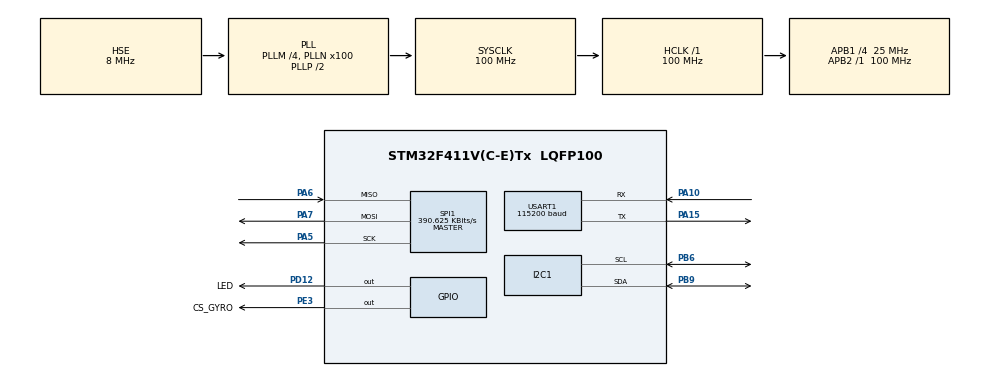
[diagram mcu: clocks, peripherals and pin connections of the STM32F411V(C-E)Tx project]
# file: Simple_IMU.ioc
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I2C1.I2C_Mode=I2C_Fast
Mcu.Family=STM32F4
Mcu.Name=STM32F411V(C-E)Tx
Mcu.Package=LQFP100
NVIC.PriorityGroup=NVIC_PRIORITYGROUP_4
NVIC.TIM1_UP_TIM10_IRQn=true\:0\:0\:false\:false\:true
NVIC.USART1_IRQn=true\:0\:0\:false\:false\:true
PA10.Mode=Asynchronous
PA10.Signal=USART1_RX
PA15.Mode=Asynchronous
PA15.Signal=USART1_TX
PA5.Mode=Full_Duplex_Master
PA5.Signal=SPI1_SCK
PA6.Mode=Full_Duplex_Master
PA6.Signal=SPI1_MISO
PA7.Mode=Full_Duplex_Master
PA7.Signal=SPI1_MOSI
PB6.Mode=I2C
PB6.Signal=I2C1_SCL
PB9.Mode=I2C
PB9.Signal=I2C1_SDA
PD12.GPIO_Label=LED
PD12.Signal=GPIO_Output
PE3.GPIO_Label=CS_GYRO
PE3.Signal=GPIO_Output
PH0\ -\ OSC_IN.Mode=HSE-External-Oscillator
PH0\ -\ OSC_IN.Signal=RCC_OSC_IN
PH1\ -\ OSC_OUT.Mode=HSE-External-Oscillator
PH1\ -\ OSC_OUT.Signal=RCC_OSC_OUT
ProjectManager.HeapSize=0x200
ProjectManager.StackSize=0x400
ProjectManager.TargetToolchain=SW4STM32
RCC.48MHZClocksFreq_Value=50000000
RCC.AHBFreq_Value=100000000
RCC.APB1CLKDivider=RCC_HCLK_DIV4
RCC.APB1Freq_Value=25000000
RCC.APB1TimFreq_Value=50000000
RCC.APB2Freq_Value=100000000
RCC.APB2TimFreq_Value=100000000
RCC.CortexFreq_Value=100000000
RCC.HCLKFreq_Value=100000000
RCC.HSE_VALUE=8000000
RCC.HSI_VALUE=16000000
RCC.LSE_VALUE=32768
RCC.PLLM=4
RCC.PLLN=100
RCC.PLLSourceVirtual=RCC_PLLSOURCE_HSE
RCC.SYSCLKFreq_VALUE=100000000
RCC.SYSCLKSource=RCC_SYSCLKSOURCE_PLLCLK
RCC.VCOOutputFreq_Value=200000000
SPI1.BaudRatePrescaler=SPI_BAUDRATEPRESCALER_256
SPI1.CalculateBaudRate=390.625 KBits/s
SPI1.Direction=SPI_DIRECTION_2LINES
SPI1.Mode=SPI_MODE_MASTER
SPI1.VirtualType=VM_MASTER
TIM10.Period=4999
TIM10.Prescaler=9999
USART1.BaudRate=115200
USART1.Mode=MODE_TX
USART1.VirtualMode=VM_ASYNC
VP_TIM10_VS_ClockSourceINT.Mode=Enable_Timer
board=Simple_IMU

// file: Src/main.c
/**
  ******************************************************************************
  * File Name          : main.c
  * Description        : Main program body
  ******************************************************************************
  *
  * COPYRIGHT(c) 2017 STMicroelectronics
  *
  * Redistribution and use in source and binary forms, with or without modification,
  * are permitted provided that the following conditions are met:
  *   1. Redistributions of source code must retain the above copyright notice,
  *      this list of conditions and the following disclaimer.
  *   2. Redistributions in binary form must reproduce the above copyright notice,
  *      this list of conditions and the following disclaimer in the documentation
  *      and/or other materials provided with the distribution.
  *   3. Neither the name of STMicroelectronics nor the names of its contributors
  *      may be used to endorse or promote products derived from this software
  *      without specific prior written permission.
  *
  * THIS SOFTWARE IS PROVIDED BY THE COPYRIGHT HOLDERS AND CONTRIBUTORS "AS IS"
  * AND ANY EXPRESS OR IMPLIED WARRANTIES, INCLUDING, BUT NOT LIMITED TO, THE
  * IMPLIED WARRANTIES OF MERCHANTABILITY AND FITNESS FOR A PARTICULAR PURPOSE ARE
  * DISCLAIMED. IN NO EVENT SHALL THE COPYRIGHT HOLDER OR CONTRIBUTORS BE LIABLE
  * FOR ANY DIRECT, INDIRECT, INCIDENTAL, SPECIAL, EXEMPLARY, OR CONSEQUENTIAL
  * DAMAGES (INCLUDING, BUT NOT LIMITED TO, PROCUREMENT OF SUBSTITUTE GOODS OR
  * SERVICES; LOSS OF USE, DATA, OR PROFITS; OR BUSINESS INTERRUPTION) HOWEVER
  * CAUSED AND ON ANY THEORY OF LIABILITY, WHETHER IN CONTRACT, STRICT LIABILITY,
  * OR TORT (INCLUDING NEGLIGENCE OR OTHERWISE) ARISING IN ANY WAY OUT OF THE USE
  * OF THIS SOFTWARE, EVEN IF ADVISED OF THE POSSIBILITY OF SUCH DAMAGE.
  *
  ******************************************************************************
  */
#include "main.h"
#include "stm32f4xx_hal.h"

/* USER CODE BEGIN Includes */
#include <math.h>
/* USER CODE END Includes */

I2C_HandleTypeDef hi2c1;

SPI_HandleTypeDef hspi1;

TIM_HandleTypeDef htim10;

UART_HandleTypeDef huart1;

/* USER CODE BEGIN PV */
/* Private variables ---------------------------------------------------------*/
// ACCELEROMTER and MAGNETOMETER
#define LSM303_ACC_ADDRESS (0x19 << 1)
#define LSM303_ACC_CTRL_REG1_A 0x20
#define LSM303_ACC_CTRL_REG2_A 0x21
#define LSM303_ACC_CTRL_REG3_A 0x22
#define LSM303_ACC_CTRL_REG4_A 0x23
#define LSM303_ACC_CTRL_REG5_A 0x24
#define LSM303_ACC_CTRL_REG6_A 0x25
#define LSM303_ACC_SCALE 8.0
#define LSM303_MAG_ADDRESS (0x1E << 1)
#define LSM303_MAG_CRA_REG_M 0x00
#define LSM303_MAG_CRB_REG_M 0x01
#define LSM303_MAG_MR_REG_M 0x02

float Accel_g_x;
float Accel_g_y;
float Accel_g_z;

float Mag_Gauss_x;
float Mag_Gauss_y;
float Mag_Gauss_z;
//GYROSCOPE
#define L3GD20_REGISTER_CTRL_REG1 0x20   // 00000111   rw
#define L3GD20_REGISTER_CTRL_REG2 0x21   // 00000000   rw
#define L3GD20_REGISTER_CTRL_REG3 0x22   // 00000000   rw
#define L3GD20_REGISTER_CTRL_REG4 0x23   // 00000000   rw
#define L3GD20_REGISTER_CTRL_REG5 0x24   // 00000000   rw
#define L3GD20_GYRO_SENSITIVITY 0.00875
#define CS_GYRO_LOW HAL_GPIO_WritePin(CS_GYRO_GPIO_Port, CS_GYRO_Pin, 0)
#define CS_GYRO_HIGH HAL_GPIO_WritePin(CS_GYRO_GPIO_Port, CS_GYRO_Pin, 1)

#define RAD_TO_DEG 180/M_PI

//float Angle_x; //degrees
//float Angle_y; //degrees
//float Angle_z; //degrees

float pitch, roll, pitch_acc, roll_acc, yaw;
int16_t pitch_, roll_;
/* USER CODE END PV */

void SystemClock_Config(void);
void Error_Handler(void);
static void MX_GPIO_Init(void);
static void MX_I2C1_Init(void);
static void MX_SPI1_Init(void);
static void MX_USART1_UART_Init(void);
static void MX_TIM10_Init(void);

/* USER CODE BEGIN PFP */
/* Private function prototypes -----------------------------------------------*/
uint8_t readGyro(uint8_t address);
void sendSettings(uint8_t address, uint8_t settings);
void HAL_TIM_PeriodElapsedCallback(TIM_HandleTypeDef *htim) {
	if (htim->Instance == TIM10) {
		uint8_t size, Tx[100] = {0};
		size = sprintf((char*)Tx, "%d#%d$%d@", (int16_t)pitch, (int16_t)roll, (int16_t)yaw);
		HAL_UART_Transmit_IT(&huart1, Tx, size);
	}
}
/* USER CODE END PFP */

int main(void)
{

  /* USER CODE BEGIN 1 */
	uint8_t Data[6];
	int16_t Accel_raw_x;
	int16_t Accel_raw_y;
	int16_t Accel_raw_z;
	int16_t Mag_raw_x;
	int16_t Mag_raw_y;
	int16_t Mag_raw_z;
	int16_t Angular_velocity_x;
	int16_t Angular_velocity_y;
	int16_t Angular_velocity_z;
	uint8_t settings;
//	float dt = 0.0023; //not very good, need beter idea
	float dt = 0.01; //time base to integrate
//	uint8_t Tx[50];
//	uint8_t size;
  /* USER CODE END 1 */

  /* MCU Configuration----------------------------------------------------------*/

  /* Reset of all peripherals, Initializes the Flash interface and the Systick. */
  HAL_Init();

  /* Configure the system clock */
  SystemClock_Config();

  /* Initialize all configured peripherals */
  MX_GPIO_Init();
  MX_I2C1_Init();
  MX_SPI1_Init();
  MX_USART1_UART_Init();
  MX_TIM10_Init();

  /* USER CODE BEGIN 2 */
//ACCELEROMETER CONFIGURATION
	settings = 0b01010111; //100Hz, XYZ axis enable
	HAL_I2C_Mem_Write(&hi2c1, LSM303_ACC_ADDRESS, LSM303_ACC_CTRL_REG1_A, 1,
			&settings, 1, 50);

	settings = 0b10000000; /*data from internal filter sent to output register and
	FIFO, there is no gravitation vector, dunno why*/
	HAL_I2C_Mem_Write(&hi2c1, LSM303_ACC_ADDRESS, LSM303_ACC_CTRL_REG2_A, 1,
			&settings, 1, 50);

	settings = 0b00000000; //everything disable
	HAL_I2C_Mem_Write(&hi2c1, LSM303_ACC_ADDRESS, LSM303_ACC_CTRL_REG3_A, 1,
			&settings, 1, 50);

	settings = 0b00100000; //+/- 4G selection
	HAL_I2C_Mem_Write(&hi2c1, LSM303_ACC_ADDRESS, LSM303_ACC_CTRL_REG4_A, 1,
			&settings, 1, 50);

	settings = 0b00000000; //nothing
	HAL_I2C_Mem_Write(&hi2c1, LSM303_ACC_ADDRESS, LSM303_ACC_CTRL_REG5_A, 1,
			&settings, 1, 50);

	settings = 0b00000000; //nothing
	HAL_I2C_Mem_Write(&hi2c1, LSM303_ACC_ADDRESS, LSM303_ACC_CTRL_REG6_A, 1,
			&settings, 1, 50);
/////////////////////////////////////////////////////////////////////////////////////////
//MAGNETOMETER CONFIGURATION
	settings = 0b00011000; //output rate 75Hz
	HAL_I2C_Mem_Write(&hi2c1, LSM303_MAG_ADDRESS, LSM303_MAG_CRA_REG_M, 1,
			&settings, 1, 50);

	settings = 0b00100000; //field range +/- 1.3 Gauss
	HAL_I2C_Mem_Write(&hi2c1, LSM303_MAG_ADDRESS, LSM303_MAG_CRB_REG_M, 1,
			&settings, 1, 50);

	settings = 0b00000000; //continuous-conversion mode
	HAL_I2C_Mem_Write(&hi2c1, LSM303_MAG_ADDRESS, LSM303_MAG_MR_REG_M, 1,
			&settings, 1, 50);
/////////////////////////////////////////////////////////////////////////////////////////
//GYROSCOPE CONFIGURATION
	sendSettings(L3GD20_REGISTER_CTRL_REG1, 0b11001111); //output data rate, XYZ axis enable
	sendSettings(L3GD20_REGISTER_CTRL_REG2, 0b00000000); //high pass filter normal mode and cutoff freq
	sendSettings(L3GD20_REGISTER_CTRL_REG3, 0b00000000); //nothing
	sendSettings(L3GD20_REGISTER_CTRL_REG4, 0b00000000); //continous update, 250 dps
	sendSettings(L3GD20_REGISTER_CTRL_REG5, 0b00010000); //high pass filter enable

	HAL_TIM_Base_Start_IT(&htim10);
  /* USER CODE END 2 */

  /* Infinite loop */
  /* USER CODE BEGIN WHILE */
	while (1) {
		//Accelerometer
		HAL_I2C_Mem_Read(&hi2c1, LSM303_ACC_ADDRESS, 0x28 | 0x80, 1, Data,
				6, 50);
		Accel_raw_x = ((Data[1] << 8) | Data[0]);
		Accel_raw_y = ((Data[3] << 8) | Data[2]);
		Accel_raw_z = ((Data[5] << 8) | Data[4]);

		Accel_g_x = (float) ((Accel_raw_x * LSM303_ACC_SCALE) / INT16_MAX);
		Accel_g_y = (float) ((Accel_raw_y * LSM303_ACC_SCALE) / INT16_MAX);
		Accel_g_z = (float) ((Accel_raw_z * LSM303_ACC_SCALE) / INT16_MAX);

		//Magnetometer
		HAL_I2C_Mem_Read(&hi2c1, LSM303_MAG_ADDRESS, 0x03 | 0x80, 1, Data,
				6, 50);
		Mag_raw_x = (Data[1] | (Data[0] << 8)); //X
		Mag_raw_y = (Data[5] | (Data[4] << 8)); //Y
		Mag_raw_z = (Data[3] | (Data[2] << 8)); //Z

		Mag_Gauss_x = (float) Mag_raw_x / 1100;
		Mag_Gauss_y = (float) Mag_raw_y / 1100;
		Mag_Gauss_z = (float) Mag_raw_z / 980;

		//Gyroscope
		Data[0] = readGyro(0x28);
		Data[1] = readGyro(0x29);
		Data[2] = readGyro(0x2A);
		Data[3] = readGyro(0x2B);
		Data[4] = readGyro(0x2C);
		Data[5] = readGyro(0x2D);

		Angular_velocity_x = (int16_t)((Data[1] << 8) | Data[0]);
		Angular_velocity_y = (int16_t)((Data[3] << 8) | Data[2]);
		Angular_velocity_z = (int16_t)((Data[5] << 8) | Data[4]);

		Angular_velocity_x = (int16_t)((float)Angular_velocity_x * L3GD20_GYRO_SENSITIVITY); //dps
		Angular_velocity_y = (int16_t)((float)Angular_velocity_y * L3GD20_GYRO_SENSITIVITY); //dps
		Angular_velocity_z = (int16_t)((float)Angular_velocity_z * L3GD20_GYRO_SENSITIVITY); //dps

//		Angle_x += Angular_velocity_x*dt; //degrees
//		Angle_y += Angular_velocity_y*dt; //degrees
//		Angle_z += Angular_velocity_z*dt; //degrees

		pitch += Angular_velocity_y*dt; //degress from gyro
		roll += Angular_velocity_x*dt; //degress from gyro
		yaw += Angular_velocity_z*dt;

//		if (fabsf(Accel_g_z - Accel_g_y) < 0.1) {
//			pitch_acc = atan2f(Accel_g_x, Accel_g_z)*RAD_TO_DEG; //around y from accelerometer
//			roll_acc = 0;
//		} else if (fabsf(Accel_g_z - Accel_g_x) < 0.1) {
//			pitch_acc = 0; //around y from accelerometer
//			roll_acc = atan2f(Accel_g_y, Accel_g_z)*RAD_TO_DEG; //around x from accelerometer
//		} else {
//			pitch_acc = atan2f(Accel_g_x, Accel_g_z)*RAD_TO_DEG; //around y from accelerometer
//			roll_acc = atan2f(Accel_g_y, Accel_g_z)*RAD_TO_DEG; //around x from accelerometer
//		}

		pitch_acc = atan2f(Accel_g_x, Accel_g_z)*RAD_TO_DEG; //around y from accelerometer
		roll_acc = atan2f(Accel_g_y, Accel_g_z)*RAD_TO_DEG; //around x from accelerometer

		pitch = 0.98 * pitch + 0.02 * pitch_acc;
		roll = 0.98 * roll + 0.02 * roll_acc;

		if (fabsf(pitch - 90) < 10 || fabsf(pitch - (-90)) < 10) {
			roll = 0;
		}
		if (fabsf(roll - 90) < 10 || fabsf(roll - (-90)) < 10) {
			pitch = 0;
		}
		pitch_ = (int16_t)pitch;
		roll_ = (int16_t)roll;

  /* USER CODE END WHILE */

	}

}

/** System Clock Configuration
*/
void SystemClock_Config(void)
{

  RCC_OscInitTypeDef RCC_OscInitStruct;
  RCC_ClkInitTypeDef RCC_ClkInitStruct;

    /**Configure the main internal regulator output voltage
    */
  __HAL_RCC_PWR_CLK_ENABLE();

  __HAL_PWR_VOLTAGESCALING_CONFIG(PWR_REGULATOR_VOLTAGE_SCALE1);

    /**Initializes the CPU, AHB and APB busses clocks
    */
  RCC_OscInitStruct.OscillatorType = RCC_OSCILLATORTYPE_HSE;
  RCC_OscInitStruct.HSEState = RCC_HSE_ON;
  RCC_OscInitStruct.PLL.PLLState = RCC_PLL_ON;
  RCC_OscInitStruct.PLL.PLLSource = RCC_PLLSOURCE_HSE;
  RCC_OscInitStruct.PLL.PLLM = 4;
  RCC_OscInitStruct.PLL.PLLN = 100;
  RCC_OscInitStruct.PLL.PLLP = RCC_PLLP_DIV2;
  RCC_OscInitStruct.PLL.PLLQ = 4;
  if (HAL_RCC_OscConfig(&RCC_OscInitStruct) != HAL_OK)
  {
    Error_Handler();
  }

    /**Initializes the CPU, AHB and APB busses clocks
    */
  RCC_ClkInitStruct.ClockType = RCC_CLOCKTYPE_HCLK|RCC_CLOCKTYPE_SYSCLK
                              |RCC_CLOCKTYPE_PCLK1|RCC_CLOCKTYPE_PCLK2;
  RCC_ClkInitStruct.SYSCLKSource = RCC_SYSCLKSOURCE_PLLCLK;
  RCC_ClkInitStruct.AHBCLKDivider = RCC_SYSCLK_DIV1;
  RCC_ClkInitStruct.APB1CLKDivider = RCC_HCLK_DIV4;
  RCC_ClkInitStruct.APB2CLKDivider = RCC_HCLK_DIV1;

  if (HAL_RCC_ClockConfig(&RCC_ClkInitStruct, FLASH_LATENCY_3) != HAL_OK)
  {
    Error_Handler();
  }

    /**Configure the Systick interrupt time
    */
  HAL_SYSTICK_Config(HAL_RCC_GetHCLKFreq()/1000);

    /**Configure the Systick
    */
  HAL_SYSTICK_CLKSourceConfig(SYSTICK_CLKSOURCE_HCLK);

  /* SysTick_IRQn interrupt configuration */
  HAL_NVIC_SetPriority(SysTick_IRQn, 0, 0);
}

/* I2C1 init function */
static void MX_I2C1_Init(void)
{

  hi2c1.Instance = I2C1;
  hi2c1.Init.ClockSpeed = 400000;
  hi2c1.Init.DutyCycle = I2C_DUTYCYCLE_2;
  hi2c1.Init.OwnAddress1 = 0;
  hi2c1.Init.AddressingMode = I2C_ADDRESSINGMODE_7BIT;
  hi2c1.Init.DualAddressMode = I2C_DUALADDRESS_DISABLE;
  hi2c1.Init.OwnAddress2 = 0;
  hi2c1.Init.GeneralCallMode = I2C_GENERALCALL_DISABLE;
  hi2c1.Init.NoStretchMode = I2C_NOSTRETCH_DISABLE;
  if (HAL_I2C_Init(&hi2c1) != HAL_OK)
  {
    Error_Handler();
  }

}

/* SPI1 init function */
static void MX_SPI1_Init(void)
{

  hspi1.Instance = SPI1;
  hspi1.Init.Mode = SPI_MODE_MASTER;
  hspi1.Init.Direction = SPI_DIRECTION_2LINES;
  hspi1.Init.DataSize = SPI_DATASIZE_8BIT;
  hspi1.Init.CLKPolarity = SPI_POLARITY_LOW;
  hspi1.Init.CLKPhase = SPI_PHASE_1EDGE;
  hspi1.Init.NSS = SPI_NSS_SOFT;
  hspi1.Init.BaudRatePrescaler = SPI_BAUDRATEPRESCALER_256;
  hspi1.Init.FirstBit = SPI_FIRSTBIT_MSB;
  hspi1.Init.TIMode = SPI_TIMODE_DISABLE;
  hspi1.Init.CRCCalculation = SPI_CRCCALCULATION_DISABLE;
  hspi1.Init.CRCPolynomial = 10;
  if (HAL_SPI_Init(&hspi1) != HAL_OK)
  {
    Error_Handler();
  }

}

/* TIM10 init function */
static void MX_TIM10_Init(void)
{

  htim10.Instance = TIM10;
  htim10.Init.Prescaler = 9999;
  htim10.Init.CounterMode = TIM_COUNTERMODE_UP;
  htim10.Init.Period = 4999;
  htim10.Init.ClockDivision = TIM_CLOCKDIVISION_DIV1;
  if (HAL_TIM_Base_Init(&htim10) != HAL_OK)
  {
    Error_Handler();
  }

}

/* USART1 init function */
static void MX_USART1_UART_Init(void)
{

  huart1.Instance = USART1;
  huart1.Init.BaudRate = 115200;
  huart1.Init.WordLength = UART_WORDLENGTH_8B;
  huart1.Init.StopBits = UART_STOPBITS_1;
  huart1.Init.Parity = UART_PARITY_NONE;
  huart1.Init.Mode = UART_MODE_TX;
  huart1.Init.HwFlowCtl = UART_HWCONTROL_NONE;
  huart1.Init.OverSampling = UART_OVERSAMPLING_16;
  if (HAL_UART_Init(&huart1) != HAL_OK)
  {
    Error_Handler();
  }

}

/** Configure pins as
        * Analog
        * Input
        * Output
        * EVENT_OUT
        * EXTI
*/
static void MX_GPIO_Init(void)
{

  GPIO_InitTypeDef GPIO_InitStruct;

  /* GPIO Ports Clock Enable */
  __HAL_RCC_GPIOE_CLK_ENABLE();
  __HAL_RCC_GPIOH_CLK_ENABLE();
  __HAL_RCC_GPIOA_CLK_ENABLE();
  __HAL_RCC_GPIOD_CLK_ENABLE();
  __HAL_RCC_GPIOB_CLK_ENABLE();

  /*Configure GPIO pin Output Level */
  HAL_GPIO_WritePin(CS_GYRO_GPIO_Port, CS_GYRO_Pin, GPIO_PIN_RESET);

  /*Configure GPIO pin Output Level */
  HAL_GPIO_WritePin(LED_GPIO_Port, LED_Pin, GPIO_PIN_RESET);

  /*Configure GPIO pin : CS_GYRO_Pin */
  GPIO_InitStruct.Pin = CS_GYRO_Pin;
  GPIO_InitStruct.Mode = GPIO_MODE_OUTPUT_PP;
  GPIO_InitStruct.Pull = GPIO_NOPULL;
  GPIO_InitStruct.Speed = GPIO_SPEED_FREQ_LOW;
  HAL_GPIO_Init(CS_GYRO_GPIO_Port, &GPIO_InitStruct);

  /*Configure GPIO pin : LED_Pin */
  GPIO_InitStruct.Pin = LED_Pin;
  GPIO_InitStruct.Mode = GPIO_MODE_OUTPUT_PP;
  GPIO_InitStruct.Pull = GPIO_NOPULL;
  GPIO_InitStruct.Speed = GPIO_SPEED_FREQ_LOW;
  HAL_GPIO_Init(LED_GPIO_Port, &GPIO_InitStruct);

}

/* USER CODE BEGIN 4 */
uint8_t readGyro(uint8_t address) {
	CS_GYRO_LOW;
	address |= 0x80;
	uint8_t data;
	HAL_SPI_Transmit(&hspi1, &address, 1, 50);
	HAL_SPI_Receive(&hspi1, &data, 1, 50);
	CS_GYRO_HIGH;
	return data;
}

void sendSettings(uint8_t address, uint8_t settings) {
	CS_GYRO_LOW;
	HAL_SPI_Transmit(&hspi1, &address, 1, 50);
	HAL_SPI_Transmit(&hspi1, &settings, 1, 50);
	CS_GYRO_HIGH;
}
/* USER CODE END 4 */

void Error_Handler(void)
{
	while (1) {
	}
}

/************************ (C) COPYRIGHT STMicroelectronics *****END OF FILE****/
